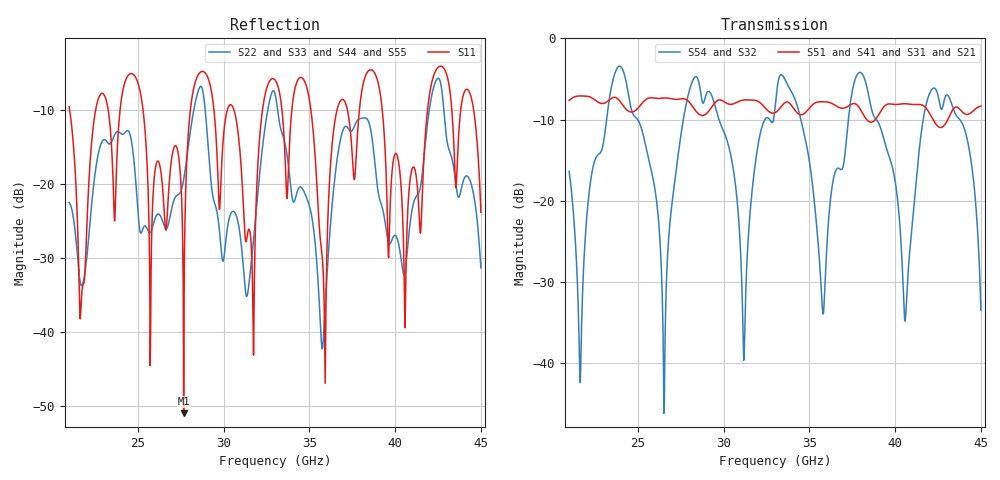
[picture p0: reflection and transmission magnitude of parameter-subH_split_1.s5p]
! Created Mon Jun 10 12:43:52 2024
# hz S ma R 50
! 5 Port Network Data from SP1.SP block
! freq  magS11  angS11  magS12  angS12  magS13  angS13  magS14  angS14
!  magS15  angS15
!  magS21  angS21  magS22  angS22  magS23  angS23
!  magS24  angS24  magS25  angS25
!  magS31  angS31  magS32  angS32
!  magS33  angS33  magS34  angS34  magS35  angS35
!  magS41  angS41
!  magS42  angS42  magS43  angS43  magS44  angS44  magS45  angS45
!  magS51  angS51  magS52  angS52  magS53  angS53  magS54  angS54
!  magS55  angS55
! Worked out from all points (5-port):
!   961 points, 21 GHz to 45 GHz, reference 50 ohm
!   strongest paths, dB at 21 GHz, 27 GHz, 33 GHz, 39 GHz, 45 GHz:
!     S51: -7.6, -7.5, -9.1, -9.5, -8.3
!     S41: -7.6, -7.5, -9.1, -9.5, -8.3
!     S31: -7.6, -7.5, -9.1, -9.5, -8.3
!     S21: -7.6, -7.5, -9.1, -9.5, -8.3
!     S54: -16.4, -20.3, -8.6, -10.3, -33.5
!     S32: -16.4, -20.3, -8.6, -10.3, -33.5
!   lowest |S11| = -51.0 dB at 27.68 GHz (marker M1), VSWR 1.01, Z = 50 + j0.283 ohm
!   |S11| at or under -10 dB: 25.31 GHz to 28.07 GHz (2.766 GHz wide, 10.4 % of centre); 30.6 GHz to 32.27 GHz (1.674 GHz wide, 5.33 % of centre); 39.25 GHz to 41.89 GHz (2.643 GHz wide, 6.51 % of centre)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
